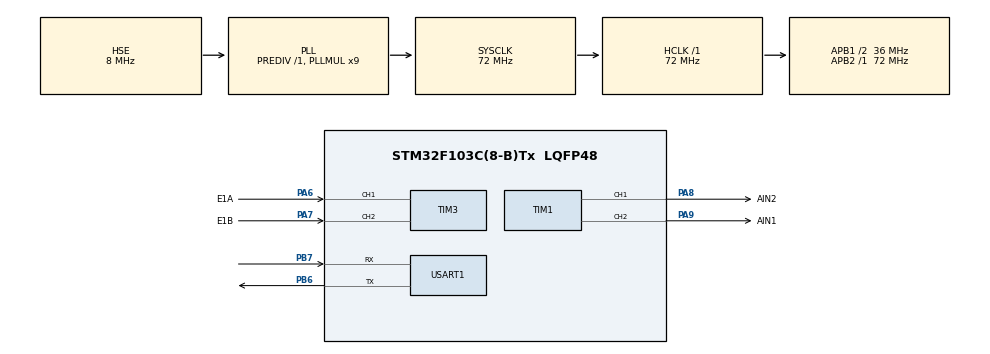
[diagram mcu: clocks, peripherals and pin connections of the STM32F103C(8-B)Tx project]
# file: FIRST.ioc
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Dma.Request0=USART1_RX
Dma.USART1_RX.0.Direction=DMA_PERIPH_TO_MEMORY
Dma.USART1_RX.0.Instance=DMA1_Channel5
Dma.USART1_RX.0.MemDataAlignment=DMA_MDATAALIGN_BYTE
Dma.USART1_RX.0.MemInc=DMA_MINC_ENABLE
Dma.USART1_RX.0.Mode=DMA_CIRCULAR
Dma.USART1_RX.0.PeriphDataAlignment=DMA_PDATAALIGN_BYTE
Dma.USART1_RX.0.PeriphInc=DMA_PINC_DISABLE
Dma.USART1_RX.0.Priority=DMA_PRIORITY_HIGH
Mcu.Family=STM32F1
Mcu.Name=STM32F103C(8-B)Tx
Mcu.Package=LQFP48
NVIC.DMA1_Channel5_IRQn=true\:0\:0\:false\:false\:true\:false\:true\:true
NVIC.PriorityGroup=NVIC_PRIORITYGROUP_4
PA13.Mode=Serial_Wire
PA13.Signal=SYS_JTMS-SWDIO
PA14.Mode=Serial_Wire
PA14.Signal=SYS_JTCK-SWCLK
PA6.GPIO_Label=E1A
PA6.Signal=S_TIM3_CH1
PA7.GPIO_Label=E1B
PA7.Signal=S_TIM3_CH2
PA8.GPIO_Label=AIN2
PA8.Signal=S_TIM1_CH1
PA9.GPIO_Label=AIN1
PA9.Signal=S_TIM1_CH2
PB6.Mode=Asynchronous
PB6.Signal=USART1_TX
PB7.Mode=Asynchronous
PB7.Signal=USART1_RX
PC14-OSC32_IN.Mode=LSE-External-Oscillator
PC14-OSC32_IN.Signal=RCC_OSC32_IN
PC15-OSC32_OUT.Mode=LSE-External-Oscillator
PC15-OSC32_OUT.Signal=RCC_OSC32_OUT
PD0-OSC_IN.Mode=HSE-External-Oscillator
PD0-OSC_IN.Signal=RCC_OSC_IN
PD1-OSC_OUT.Mode=HSE-External-Oscillator
PD1-OSC_OUT.Signal=RCC_OSC_OUT
ProjectManager.HeapSize=0x200
ProjectManager.StackSize=0x400
ProjectManager.TargetToolchain=CMake
RCC.AHBFreq_Value=72000000
RCC.APB1CLKDivider=RCC_HCLK_DIV2
RCC.APB1Freq_Value=36000000
RCC.APB1TimFreq_Value=72000000
RCC.APB2Freq_Value=72000000
RCC.APB2TimFreq_Value=72000000
RCC.HCLKFreq_Value=72000000
RCC.PLLMUL=RCC_PLL_MUL9
RCC.PLLSourceVirtual=RCC_PLLSOURCE_HSE
RCC.SYSCLKFreq_VALUE=72000000
RCC.SYSCLKSource=RCC_SYSCLKSOURCE_PLLCLK
RCC.USBFreq_Value=72000000
SH.S_TIM1_CH1.0=TIM1_CH1,PWM Generation1 CH1
SH.S_TIM1_CH2.0=TIM1_CH2,PWM Generation2 CH2
SH.S_TIM3_CH1.0=TIM3_CH1,Encoder_Interface
SH.S_TIM3_CH2.0=TIM3_CH2,Encoder_Interface
TIM1.Channel-PWM\ Generation1\ CH1=TIM_CHANNEL_1
TIM1.Channel-PWM\ Generation2\ CH2=TIM_CHANNEL_2
TIM3.ClockDivision=TIM_CLOCKDIVISION_DIV1
USART1.VirtualMode=VM_ASYNC
board=custom

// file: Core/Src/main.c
/* USER CODE BEGIN Header */
/**
  ******************************************************************************
  * @file           : main.c
  * @brief          : Main program body
  ******************************************************************************
  * @attention
  *
  * Copyright (c) 2025 STMicroelectronics.
  * All rights reserved.
  *
  * This software is licensed under terms that can be found in the LICENSE file
  * in the root directory of this software component.
  * If no LICENSE file comes with this software, it is provided AS-IS.
  *
  ******************************************************************************
  */
/* USER CODE END Header */
#include "main.h"
#include "dma.h"
#include "tim.h"
#include "usart.h"
#include "gpio.h"
#include "Encoder.h"
#include <stdio.h>
#include <stdlib.h>

void SystemClock_Config(void);

int main(void)
{

  /* MCU Configuration--------------------------------------------------------*/

  /* Reset of all peripherals, Initializes the Flash interface and the Systick. */
  HAL_Init();

  /* Configure the system clock */
  SystemClock_Config();

  /* Initialize all configured peripherals */
  MX_GPIO_Init();
  MX_DMA_Init();
  MX_TIM3_Init();
  MX_USART1_UART_Init();
  MX_TIM1_Init();
  /* USER CODE BEGIN 2 */
  /* start peripheral helpers */
  Encoder_Start();
  Motor_Init();
  UART1_Start_DMA();
  /* ensure motors stopped */
  Motor_SetDuty(0, 0);

  /* USER CODE END 2 */

  /* Infinite loop */
  while (1)
  {

    /* USER CODE BEGIN 3 */
    /* Simple control loop: read encoder delta, read target speed parsed from UART,
       map target to PWM and send feedback. Protocol: send ASCII integer + newline */
    int32_t current = Encoder_Read();
    UART1_Process();
    int32_t target = Get_TargetSpeed();

    uint32_t arr = htim1.Init.Period ? htim1.Init.Period : 65535U;
    uint32_t pwm = (uint32_t)((uint32_t)abs((int)target) * arr / 1000U);
    if (pwm > arr) pwm = arr;

    if (target >= 0)
    {
      Motor_SetDuty((uint16_t)pwm, 0);
    }
    else
    {
      Motor_SetDuty(0, (uint16_t)pwm);
    }

    char fb[64];
    int n = snprintf(fb, sizeof(fb), "%ld\r\n", (long)current);
    if (n > 0) UART1_SendString(fb);

    HAL_Delay(50);
  }
  /* USER CODE END 3 */
}

void SystemClock_Config(void)
{
  RCC_OscInitTypeDef RCC_OscInitStruct = {0};
  RCC_ClkInitTypeDef RCC_ClkInitStruct = {0};

  /** Initializes the RCC Oscillators according to the specified parameters
  * in the RCC_OscInitTypeDef structure.
  */
  RCC_OscInitStruct.OscillatorType = RCC_OSCILLATORTYPE_HSE;
  RCC_OscInitStruct.HSEState = RCC_HSE_ON;
  RCC_OscInitStruct.HSEPredivValue = RCC_HSE_PREDIV_DIV1;
  RCC_OscInitStruct.HSIState = RCC_HSI_ON;
  RCC_OscInitStruct.PLL.PLLState = RCC_PLL_ON;
  RCC_OscInitStruct.PLL.PLLSource = RCC_PLLSOURCE_HSE;
  RCC_OscInitStruct.PLL.PLLMUL = RCC_PLL_MUL9;
  if (HAL_RCC_OscConfig(&RCC_OscInitStruct) != HAL_OK)
  {
    Error_Handler();
  }

  /** Initializes the CPU, AHB and APB buses clocks
  */
  RCC_ClkInitStruct.ClockType = RCC_CLOCKTYPE_HCLK|RCC_CLOCKTYPE_SYSCLK
                              |RCC_CLOCKTYPE_PCLK1|RCC_CLOCKTYPE_PCLK2;
  RCC_ClkInitStruct.SYSCLKSource = RCC_SYSCLKSOURCE_PLLCLK;
  RCC_ClkInitStruct.AHBCLKDivider = RCC_SYSCLK_DIV1;
  RCC_ClkInitStruct.APB1CLKDivider = RCC_HCLK_DIV2;
  RCC_ClkInitStruct.APB2CLKDivider = RCC_HCLK_DIV1;

  if (HAL_RCC_ClockConfig(&RCC_ClkInitStruct, FLASH_LATENCY_2) != HAL_OK)
  {
    Error_Handler();
  }
}

void Error_Handler(void)
{
  __disable_irq();
  while (1)
  {
  }
}
